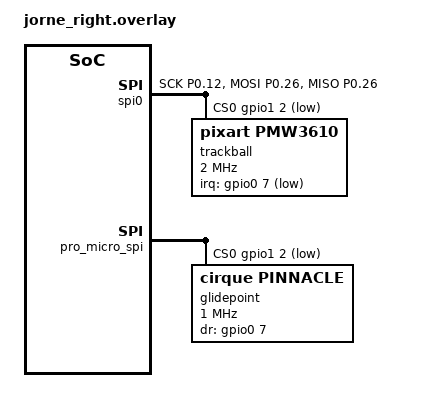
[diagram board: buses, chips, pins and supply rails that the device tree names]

/ {
    
    chosen {
        zephyr,display = &display;
    };


};

//refer https://grok.com/c/0f015a08-e56b-4161-a035-fd4ae34c6a79?rid=67fb8178-267c-42bf-a910-2bfbacafe1a1

&pinctrl {
    spi0_default: spi0_default {
        group1 {
            psels = <NRF_PSEL(SPIM_SCK,  0, 12)>,
                    <NRF_PSEL(SPIM_MOSI, 0, 26)>,
                    <NRF_PSEL(SPIM_MISO, 0, 26)>;  /* same pin as MOSI */
        };
    };

    /* sleep group similarly */
    spi0_sleep: spi0_sleep {
        group1 {
            psels = <NRF_PSEL(SPIM_SCK,  0, 12)>,
                    <NRF_PSEL(SPIM_MOSI, 0, 26)>,
                    <NRF_PSEL(SPIM_MISO, 0, 26)>;
            low-power-enable;
        };
    };
};

&spi0 {
    status = "okay";
    compatible = "nordic,nrf-spim";
    pinctrl-0 = <&spi0_default>;
    pinctrl-1 = <&spi0_sleep>;
    pinctrl-names = "default", "sleep";
    cs-gpios = <&gpio1 2 GPIO_ACTIVE_LOW>;

    trackball: trackball@0 {
        status = "okay";
        compatible = "pixart,pmw3610";
        reg = <0>;
        spi-max-frequency = <2000000>;
        irq-gpios = <&gpio0 7 (GPIO_ACTIVE_LOW | GPIO_PULL_UP)>; //MOT pin

        /* Optional useful properties — adjust as needed */
        snipe-layers = <1>;           /* example: precision mode on layer 1 */
        scroll-layers = <2 3>;        /* scroll mode on layers 2 & 3 */
        /* automouse-layer = <4>; */  /* auto-switch to mouse layer — many prefer keymap listener instead */
    };
};

/ {
    trackball_listener {
        compatible = "zmk,input-listener";
        device = <&trackball>;
    };
};


//Cirque trackball config
&pro_micro_spi {
    status = "okay";
    cs-gpios = <&gpio1 2 GPIO_ACTIVE_LOW>;

    glidepoint: glidepoint@0 {
        compatible = "cirque,pinnacle";
        reg = <0>;
        spi-max-frequency = <1000000>;
        status = "okay";
        dr-gpios = <&gpio0 7 (GPIO_ACTIVE_HIGH)>;

        sensitivity = "4x";
        sleep;
        no-taps;
    };
};
